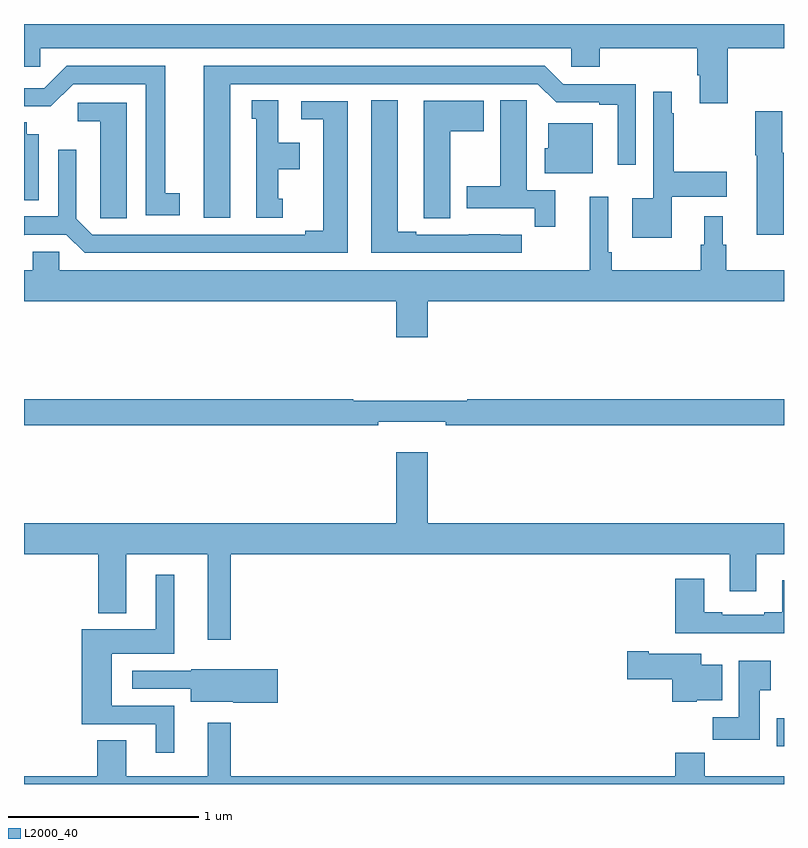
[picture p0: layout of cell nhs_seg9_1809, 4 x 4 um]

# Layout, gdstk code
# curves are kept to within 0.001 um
import gdstk
lib = gdstk.Library(unit=1e-6, precision=1e-09)
def R(c, l, rs):  # rectangles x0, y0, x1, y1
    for r in rs: c.add(gdstk.rectangle(r[:2], r[2:], *l))
def P(c, l, *ps):  # polygons
    for p in ps: c.add(gdstk.Polygon(p, *l))
L2000_40 = (2000, 40)

nhs_seg9_1809 = lib.new_cell('nhs_seg9_1809')
R(nhs_seg9_1809, L2000_40, [(214.961,1240.7,215,1240.846)])
P(nhs_seg9_1809, L2000_40, [(214.704,1244.372),(215,1244.372),(215,1244.5),(211,1244.5),(211,1244.274),(211.086,1244.274),(211.086,1244.372),(213.879,1244.372),(213.879,1244.274),(214.031,1244.274),(214.031,1244.372),(214.544,1244.372),(214.544,1244.23),(214.556,1244.23),(214.556,1244.082),(214.704,1244.082)],
  [(211.819,1243.61),(211.744,1243.61),(211.744,1244.28),(211.224,1244.28),(211.107,1244.163),(211,1244.163),(211,1244.067),(211.142,1244.066),(211.26,1244.184),(211.64,1244.184),(211.64,1243.494),(211.819,1243.494)],
  [(212.086,1244.184),(213.705,1244.184),(213.801,1244.088),(214.028,1244.088),(214.028,1244.076),(214.124,1244.076),(214.124,1243.758),(214.221,1243.758),(214.221,1244.184),(213.837,1244.184),(213.741,1244.28),(211.946,1244.28),(211.946,1243.479),(212.086,1243.479)],
  [(214.408,1243.592),(214.699,1243.592),(214.699,1243.722),(214.42,1243.722),(214.42,1244.03),(214.408,1244.03),(214.408,1244.143),(214.311,1244.143),(214.311,1243.582),(214.202,1243.582),(214.202,1243.376),(214.408,1243.376)],
  [(213.797,1243.626),(213.646,1243.626),(213.646,1243.988),(213.645,1243.988),(213.645,1244.099),(213.506,1244.099),(213.506,1243.647),(213.329,1243.647),(213.329,1243.53),(213.688,1243.53),(213.688,1243.434),(213.797,1243.434)],
  [(212.362,1243.581),(212.338,1243.581),(212.338,1243.736),(212.452,1243.736),(212.452,1243.876),(212.338,1243.876),(212.338,1244.099),(212.198,1244.099),(212.198,1244.001),(212.222,1244.001),(212.222,1243.479),(212.362,1243.479)],
  [(213.619,1243.392),(213.506,1243.392),(213.506,1243.393),(213.34,1243.393),(213.34,1243.392),(213.064,1243.392),(213.064,1243.407),(212.968,1243.407),(212.968,1244.099),(212.828,1244.099),(212.828,1243.296),(213.619,1243.296)],
  [(213.244,1243.936),(213.421,1243.936),(213.421,1244.095),(213.104,1244.095),(213.104,1243.585),(213.105,1243.585),(213.105,1243.477),(213.244,1243.477)],
  [(212.704,1244.094),(212.46,1244.094),(212.46,1243.998),(212.576,1243.998),(212.576,1243.412),(212.48,1243.412),(212.48,1243.392),(211.359,1243.392),(211.275,1243.476),(211.275,1243.837),(211.179,1243.837),(211.179,1243.488),(211,1243.488),(211,1243.387),(211.005,1243.392),(211.223,1243.392),(211.319,1243.296),(212.704,1243.296)],
  [(211.54,1244.085),(211.284,1244.085),(211.284,1243.988),(211.4,1243.988),(211.4,1243.585),(211.401,1243.585),(211.401,1243.477),(211.54,1243.477)],
  [(214.998,1243.823),(214.99,1243.823),(214.99,1244.041),(214.849,1244.041),(214.849,1243.81),(214.856,1243.81),(214.856,1243.392),(214.998,1243.392)],
  [(211.078,1243.921),(211.015,1243.921),(211.015,1243.982),(211,1243.982),(211,1243.573),(211.078,1243.573)],
  [(213.994,1243.978),(213.758,1243.978),(213.758,1243.845),(213.74,1243.845),(213.74,1243.715),(213.994,1243.715)],
  [(213.124,1243.04),(215,1243.04),(215,1243.204),(214.697,1243.204),(214.697,1243.338),(214.678,1243.338),(214.678,1243.489),(214.58,1243.489),(214.58,1243.338),(214.561,1243.338),(214.561,1243.204),(214.094,1243.204),(214.094,1243.3),(214.074,1243.3),(214.074,1243.591),(213.977,1243.591),(213.977,1243.204),(211.185,1243.204),(211.185,1243.302),(211.047,1243.302),(211.047,1243.204),(211,1243.204),(211,1243.04),(212.96,1243.04),(212.96,1242.852),(213.124,1242.852)],
  [(212.864,1242.407),(213.22,1242.407),(213.22,1242.388),(215,1242.388),(215,1242.524),(213.334,1242.524),(213.334,1242.517),(212.734,1242.517),(212.734,1242.524),(211,1242.524),(211,1242.388),(212.864,1242.388)],
  [(212.089,1241.708),(214.715,1241.708),(214.715,1241.514),(214.855,1241.514),(214.855,1241.708),(215,1241.708),(215,1241.872),(213.124,1241.872),(213.124,1242.247),(212.96,1242.247),(212.96,1241.872),(211,1241.872),(211,1241.708),(211.39,1241.708),(211.39,1241.399),(211.537,1241.399),(211.537,1241.708),(211.967,1241.708),(211.967,1241.259),(212.089,1241.259)],
  [(211.792,1240.911),(211.462,1240.911),(211.462,1241.186),(211.792,1241.186),(211.792,1241.602),(211.694,1241.602),(211.694,1241.314),(211.304,1241.314),(211.304,1240.815),(211.694,1240.815),(211.694,1240.665),(211.792,1240.665)],
  [(215,1241.572),(214.991,1241.572),(214.991,1241.404),(214.895,1241.404),(214.895,1241.391),(214.675,1241.391),(214.675,1241.404),(214.579,1241.404),(214.579,1241.581),(214.427,1241.581),(214.427,1241.294),(215,1241.294)],
  [(214.542,1240.94),(214.675,1240.94),(214.675,1241.128),(214.564,1241.128),(214.564,1241.185),(214.288,1241.185),(214.288,1241.198),(214.176,1241.198),(214.176,1241.051),(214.412,1241.051),(214.412,1240.934),(214.542,1240.934)],
  [(214.873,1240.993),(214.93,1240.993),(214.93,1241.149),(214.763,1241.149),(214.763,1240.852),(214.624,1240.852),(214.624,1240.734),(214.873,1240.734)],
  [(212.335,1241.105),(211.881,1241.105),(211.881,1241.097),(211.569,1241.097),(211.569,1241.001),(211.877,1241.001),(211.877,1240.934),(212.1,1240.934),(212.1,1240.927),(212.335,1240.927)],
  [(215,1240.54),(214.583,1240.54),(214.583,1240.664),(214.427,1240.664),(214.427,1240.54),(212.089,1240.54),(212.089,1240.822),(211.967,1240.822),(211.967,1240.54),(211.537,1240.54),(211.537,1240.73),(211.385,1240.73),(211.385,1240.54),(211,1240.54),(211,1240.5),(215,1240.5)])

lib.write_gds('nhs_seg9_1809.gds')
